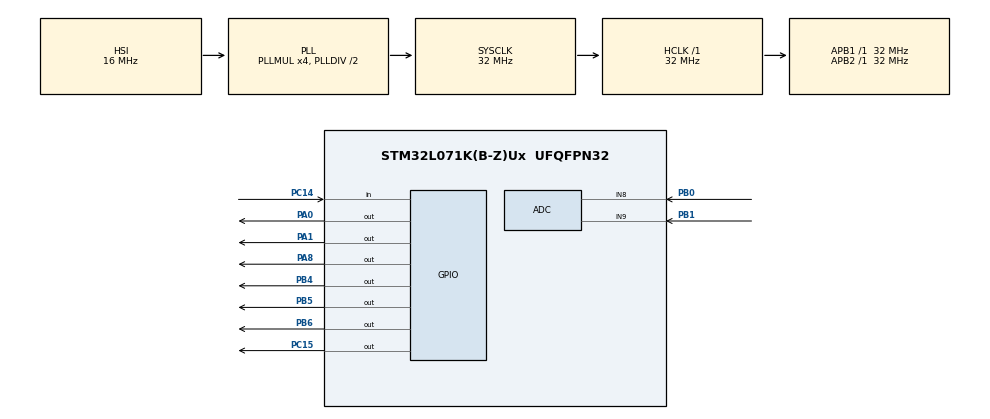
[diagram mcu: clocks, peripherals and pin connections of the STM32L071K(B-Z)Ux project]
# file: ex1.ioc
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Mcu.Family=STM32L0
Mcu.Name=STM32L071K(B-Z)Ux
Mcu.Package=UFQFPN32
NVIC.TIM6_IRQn=true\:0\:0\:false\:false\:true\:true\:true
NVIC.TIM7_IRQn=true\:0\:0\:false\:false\:true\:true\:true
PA0.Signal=GPIO_Output
PA1.Signal=GPIO_Output
PA13.Mode=Serial_Wire
PA13.Signal=SYS_SWDIO
PA14.Mode=Serial_Wire
PA14.Signal=SYS_SWCLK
PA8.Signal=GPIO_Output
PB0.Mode=IN8
PB0.Signal=ADC_IN8
PB1.Mode=IN9
PB1.Signal=ADC_IN9
PB4.Signal=GPIO_Output
PB5.Signal=GPIO_Output
PB6.Signal=GPIO_Output
PC14-OSC32_IN.GPIO_PuPd=GPIO_PULLUP
PC14-OSC32_IN.Signal=GPIO_Input
PC15-OSC32_OUT.Signal=GPIO_Output
ProjectManager.HeapSize=0x200
ProjectManager.StackSize=0x400
ProjectManager.TargetToolchain=MDK-ARM V5
RCC.AHBFreq_Value=32000000
RCC.APB1Freq_Value=32000000
RCC.APB1TimFreq_Value=32000000
RCC.APB2Freq_Value=32000000
RCC.APB2TimFreq_Value=32000000
RCC.HCLKFreq_Value=32000000
RCC.HSI16_VALUE=16000000
RCC.HSI_VALUE=16000000
RCC.LSE_VALUE=32768
RCC.MSI_VALUE=2097000
RCC.PLLMUL=RCC_PLLMUL_4
RCC.SYSCLKFreq_VALUE=32000000
RCC.SYSCLKSource=RCC_SYSCLKSOURCE_PLLCLK
RCC.VCOOutputFreq_Value=64000000
RTC.Format=RTC_FORMAT_BIN
RTC.SynchPrediv=307
TIM6.Period=999
TIM6.Prescaler=31
TIM7.Period=999
TIM7.Prescaler=31
VP_CRC_VS_CRC.Mode=CRC_Activate
VP_RTC_VS_RTC_Activate.Mode=RTC_Enabled
VP_RTC_VS_RTC_Calendar.Mode=RTC_Calendar
VP_TIM6_VS_ClockSourceINT.Mode=Enable_Timer
VP_TIM7_VS_ClockSourceINT.Mode=Enable_Timer
board=custom

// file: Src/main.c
/* USER CODE BEGIN Header */
/**
  ******************************************************************************
  * @file           : main.c
  * @brief          : Main program body
  ******************************************************************************
  * @attention
  *
  * <h2><center>&copy; Copyright (c) 2019 STMicroelectronics.
  * All rights reserved.</center></h2>
  *
  * This software component is licensed by ST under BSD 3-Clause license,
  * the "License"; You may not use this file except in compliance with the
  * License. You may obtain a copy of the License at:
  *                        opensource.org/licenses/BSD-3-Clause
  *
  ******************************************************************************
  */
/* USER CODE END Header */

#include "main.h"
#include "adc.h"
#include "crc.h"
#include "rtc.h"
#include "tim.h"
#include "gpio.h"

/* USER CODE BEGIN Includes */
#include "stm32l0xx_hal.h"
#include "zm4xx_gpio.h"
#include "spi.h"
#include "timer.h"
#include "stddef.h"
#include "sx127x_lora.h"
/* USER CODE END Includes */

/* USER CODE BEGIN PTD */
#define FREQ  (433000000)
void SystemClock_Config(void);
void Hardware_Init(void);
radio_handle_t  handle;

int ret = RADIO_RET_OK;

    uint16_t len = 0;
		uint8_t rx = 0;
		uint8_t tx = 0x55;
		uint8_t cntr = 0;

/* USER CODE END PTD */

void SystemClock_Config(void);

/* USER CODE BEGIN 0 */
void Task_BrdInit(void)
{
    HAL_GPIO_WritePin(GPIOC, GPIO_PIN_15, GPIO_PIN_SET);

    OLED_PowerControl(ENABLE);

    HAL_Delay(200);
    OLED_Init();
    OLED_Clear();

    OLED_ShowString(0, 0, (unsigned char *)"                ", 16);
    OLED_ShowString(0, 2, (unsigned char *)"                ", 16);
}
void LoRa_Init(void)
{

	handle = radio_zm4xx_inst_init(spi_recv_byte,spi_send_byte,zm4xx_rst_pin_set,zm4xx_sel_pin_set,delay_ms,delay_us);

	if(handle != NULL){
		if(RADIO_RET_OK == radio_freq_set(handle, FREQ)){
				HAL_GPIO_WritePin(GPIOC, GPIO_PIN_15,GPIO_PIN_RESET);
		}

		radio_mode_set(handle, RX_MODE);	//Receive Mode
	}
}
/* USER CODE END 0 */

int main(void)
{
  /* USER CODE BEGIN 1 */
    char lcdLine_1st_line[16];
    char lcdLine_2st_line[16];

  /* USER CODE END 1 */

  /* MCU Configuration--------------------------------------------------------*/

  /* Reset of all peripherals, Initializes the Flash interface and the Systick. */
  HAL_Init();

  /* Configure the system clock */
  SystemClock_Config();

  /* Initialize all configured peripherals */
  MX_GPIO_Init();
  MX_CRC_Init();
  MX_RTC_Init();
  MX_TIM6_Init();
  MX_TIM7_Init();
  MX_ADC_Init();
	zm4xx_pin_init(); //LORA��Ҫ
    spi_init();//LORA��Ҫ
		LoRa_Init();
  /* USER CODE BEGIN 2 */
    Task_BrdInit();
  /* USER CODE END 2 */

  /* Infinite loop */
    while (1)
    {

    /* USER CODE BEGIN 3 */
		sprintf(lcdLine_1st_line, "GXCT IOT       ");
		sprintf(lcdLine_2st_line, "Hello World    ");

		OLED_ShowString(0, 0, (unsigned char *)lcdLine_1st_line, 16);
		OLED_ShowString(0, 2, (unsigned char *)lcdLine_2st_line, 16);
    }
  /* USER CODE END 3 */
}
/* USER CODE BEGIN 4 */
//ret = radio_buf_recv(handle, &rx, &len);
//			if(ret == RADIO_RET_OK){
//				if(rx == 0xAA){
//						HAL_GPIO_TogglePin(GPIOC, GPIO_PIN_15);
//				}
//			}
//
//			if(++cntr == 40){
//				radio_buf_send(handle, &tx, 1); 	//
//				radio_mode_set(handle, RX_MODE);
//				cntr = 0;
//			}
/* USER CODE END 4 */

void SystemClock_Config(void)
{
  RCC_OscInitTypeDef RCC_OscInitStruct = {0};
  RCC_ClkInitTypeDef RCC_ClkInitStruct = {0};
  RCC_PeriphCLKInitTypeDef PeriphClkInit = {0};

  /** Configure the main internal regulator output voltage
  */
  __HAL_PWR_VOLTAGESCALING_CONFIG(PWR_REGULATOR_VOLTAGE_SCALE1);
  /** Initializes the CPU, AHB and APB busses clocks
  */
  RCC_OscInitStruct.OscillatorType = RCC_OSCILLATORTYPE_HSI|RCC_OSCILLATORTYPE_LSI;
  RCC_OscInitStruct.HSIState = RCC_HSI_ON;
  RCC_OscInitStruct.HSICalibrationValue = RCC_HSICALIBRATION_DEFAULT;
  RCC_OscInitStruct.LSIState = RCC_LSI_ON;
  RCC_OscInitStruct.PLL.PLLState = RCC_PLL_ON;
  RCC_OscInitStruct.PLL.PLLSource = RCC_PLLSOURCE_HSI;
  RCC_OscInitStruct.PLL.PLLMUL = RCC_PLLMUL_4;
  RCC_OscInitStruct.PLL.PLLDIV = RCC_PLLDIV_2;
  if (HAL_RCC_OscConfig(&RCC_OscInitStruct) != HAL_OK)
  {
    Error_Handler();
  }
  /** Initializes the CPU, AHB and APB busses clocks
  */
  RCC_ClkInitStruct.ClockType = RCC_CLOCKTYPE_HCLK|RCC_CLOCKTYPE_SYSCLK
                              |RCC_CLOCKTYPE_PCLK1|RCC_CLOCKTYPE_PCLK2;
  RCC_ClkInitStruct.SYSCLKSource = RCC_SYSCLKSOURCE_PLLCLK;
  RCC_ClkInitStruct.AHBCLKDivider = RCC_SYSCLK_DIV1;
  RCC_ClkInitStruct.APB1CLKDivider = RCC_HCLK_DIV1;
  RCC_ClkInitStruct.APB2CLKDivider = RCC_HCLK_DIV1;

  if (HAL_RCC_ClockConfig(&RCC_ClkInitStruct, FLASH_LATENCY_1) != HAL_OK)
  {
    Error_Handler();
  }
  PeriphClkInit.PeriphClockSelection = RCC_PERIPHCLK_RTC;
  PeriphClkInit.RTCClockSelection = RCC_RTCCLKSOURCE_LSI;
  if (HAL_RCCEx_PeriphCLKConfig(&PeriphClkInit) != HAL_OK)
  {
    Error_Handler();
  }
}

void Error_Handler(void)
{
}

/************************ (C) COPYRIGHT STMicroelectronics *****END OF FILE****/
